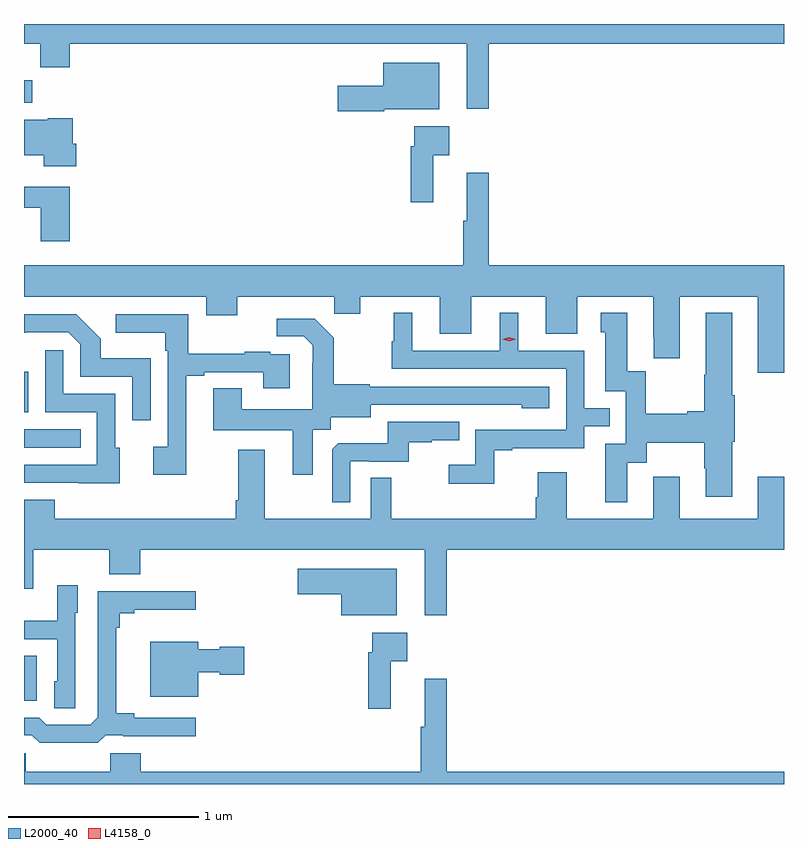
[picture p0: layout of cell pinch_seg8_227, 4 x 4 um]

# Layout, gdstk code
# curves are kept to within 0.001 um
import gdstk
lib = gdstk.Library(unit=1e-6, precision=1e-09)
def R(c, l, rs):  # rectangles x0, y0, x1, y1
    for r in rs: c.add(gdstk.rectangle(r[:2], r[2:], *l))
def P(c, l, *ps):  # polygons
    for p in ps: c.add(gdstk.Polygon(p, *l))
L2000_40 = (2000, 40)
L4158_0 = (4158, 0)

pinch_seg8_227 = lib.new_cell('pinch_seg8_227')
R(pinch_seg8_227, L2000_40, [(674.286,1109.045,674.353,1109.281), (674.286,1110.378,674.585,1110.474), (674.286,1110.563,674.308,1110.778), (674.286,1112.192,674.33,1112.311)])
P(pinch_seg8_227, L2000_40, [(676.733,1112.504),(678.286,1112.504),(678.286,1112.607),(674.286,1112.607),(674.286,1112.504),(674.371,1112.504),(674.371,1112.38),(674.528,1112.38),(674.528,1112.504),(676.616,1112.504),(676.616,1112.16),(676.733,1112.16)],
  [(676.182,1112.159),(676.471,1112.159),(676.471,1112.404),(676.178,1112.404),(676.178,1112.281),(675.936,1112.281),(675.936,1112.147),(676.182,1112.147)],
  [(674.561,1111.977),(674.543,1111.977),(674.543,1112.11),(674.412,1112.11),(674.412,1112.104),(674.286,1112.104),(674.286,1111.916),(674.39,1111.916),(674.39,1111.859),(674.561,1111.859)],
  [(676.439,1111.916),(676.525,1111.916),(676.525,1112.068),(676.341,1112.068),(676.341,1111.964),(676.321,1111.964),(676.321,1111.668),(676.439,1111.668)],
  [(674.528,1111.75),(674.286,1111.75),(674.286,1111.641),(674.375,1111.641),(674.375,1111.464),(674.528,1111.464)],
  [(676.733,1111.825),(676.616,1111.825),(676.616,1111.572),(676.597,1111.572),(676.597,1111.336),(674.286,1111.336),(674.286,1111.172),(675.245,1111.172),(675.245,1111.073),(675.409,1111.073),(675.409,1111.172),(675.919,1111.172),(675.919,1111.082),(676.057,1111.082),(676.057,1111.172),(676.475,1111.172),(676.475,1110.978),(676.639,1110.978),(676.639,1111.172),(677.033,1111.172),(677.033,1110.978),(677.197,1110.978),(677.197,1111.172),(677.597,1111.172),(677.597,1110.961),(677.6,1110.961),(677.6,1110.849),(677.737,1110.849),(677.737,1111.172),(678.149,1111.172),(678.149,1110.771),(678.286,1110.771),(678.286,1111.336),(676.733,1111.336)],
  [(676.761,1110.363),(676.855,1110.363),(676.855,1110.375),(677.235,1110.375),(677.235,1110.489),(677.369,1110.489),(677.369,1110.585),(677.235,1110.585),(677.235,1110.888),(676.888,1110.888),(676.888,1111.087),(676.79,1111.087),(676.79,1110.888),(676.33,1110.888),(676.33,1111.087),(676.232,1111.087),(676.232,1110.936),(676.221,1110.936),(676.221,1110.792),(677.139,1110.792),(677.139,1110.471),(676.662,1110.471),(676.662,1110.286),(676.521,1110.286),(676.521,1110.188),(676.761,1110.188)],
  [(677.461,1110.298),(677.563,1110.298),(677.563,1110.404),(677.866,1110.404),(677.866,1110.27),(677.873,1110.27),(677.873,1110.12),(678.013,1110.12),(678.013,1110.408),(678.026,1110.408),(678.026,1110.652),(678.013,1110.652),(678.013,1111.087),(677.873,1111.087),(677.873,1110.761),(677.866,1110.761),(677.866,1110.569),(677.777,1110.569),(677.777,1110.556),(677.559,1110.556),(677.559,1110.779),(677.461,1110.779),(677.461,1111.087),(677.321,1111.087),(677.321,1110.984),(677.345,1110.984),(677.345,1110.675),(677.454,1110.675),(677.454,1110.399),(677.345,1110.399),(677.345,1110.09),(677.461,1110.09)],
  [(674.952,1110.847),(674.691,1110.847),(674.691,1110.95),(674.56,1111.08),(674.286,1111.08),(674.286,1110.983),(674.52,1110.984),(674.583,1110.921),(674.583,1110.75),(674.856,1110.75),(674.856,1110.522),(674.952,1110.522)],
  [(675.139,1110.756),(675.235,1110.756),(675.235,1110.774),(675.545,1110.774),(675.545,1110.69),(675.685,1110.69),(675.685,1110.87),(675.581,1110.87),(675.581,1110.883),(675.449,1110.883),(675.449,1110.872),(675.151,1110.872),(675.151,1111.08),(674.769,1111.08),(674.769,1110.983),(675.03,1110.983),(675.03,1110.887),(675.042,1110.887),(675.042,1110.382),(674.967,1110.382),(674.967,1110.234),(675.139,1110.234)],
  [(675.805,1110.472),(675.9,1110.472),(675.9,1110.536),(676.111,1110.536),(676.111,1110.603),(676.905,1110.602),(676.905,1110.584),(677.05,1110.584),(677.05,1110.699),(676.107,1110.699),(676.107,1110.712),(675.915,1110.712),(675.915,1110.957),(675.815,1111.057),(675.615,1111.057),(675.615,1110.963),(675.759,1110.963),(675.806,1110.916),(675.806,1110.821),(675.804,1110.821),(675.804,1110.58),(675.433,1110.58),(675.433,1110.689),(675.281,1110.689),(675.281,1110.47),(675.701,1110.47),(675.701,1110.234),(675.805,1110.234)],
  [(674.791,1110.378),(674.766,1110.378),(674.766,1110.66),(674.493,1110.66),(674.493,1110.889),(674.397,1110.889),(674.397,1110.564),(674.67,1110.564),(674.67,1110.288),(674.286,1110.288),(674.286,1110.192),(674.573,1110.192),(674.573,1110.191),(674.791,1110.191)],
  [(676.002,1110.306),(676.102,1110.306),(676.102,1110.303),(676.31,1110.303),(676.31,1110.405),(676.433,1110.405),(676.433,1110.416),(676.577,1110.416),(676.577,1110.513),(676.2,1110.513),(676.2,1110.401),(675.941,1110.401),(675.909,1110.369),(675.909,1110.089),(676.002,1110.089)],
  [(676.511,1109.84),(678.286,1109.84),(678.286,1110.223),(678.149,1110.223),(678.149,1110.004),(677.737,1110.004),(677.737,1110.223),(677.597,1110.223),(677.597,1110.004),(677.143,1110.004),(677.143,1110.247),(676.991,1110.247),(676.991,1110.117),(676.979,1110.117),(676.979,1110.004),(676.219,1110.004),(676.219,1110.218),(676.11,1110.218),(676.11,1110.004),(675.553,1110.004),(675.553,1110.367),(675.413,1110.367),(675.413,1110.1),(675.401,1110.1),(675.401,1110.004),(674.449,1110.004),(674.449,1110.103),(674.286,1110.103),(674.286,1109.634),(674.335,1109.634),(674.335,1109.84),(674.735,1109.84),(674.735,1109.712),(674.899,1109.712),(674.899,1109.84),(676.394,1109.84),(676.394,1109.496),(676.511,1109.496)],
  [(676.249,1109.74),(675.726,1109.74),(675.726,1109.606),(675.956,1109.606),(675.956,1109.495),(676.249,1109.495)],
  [(674.556,1109.508),(674.569,1109.508),(674.569,1109.653),(674.46,1109.653),(674.46,1109.467),(674.286,1109.467),(674.286,1109.37),(674.46,1109.37),(674.46,1109.148),(674.444,1109.148),(674.444,1109.005),(674.556,1109.005)],
  [(674.715,1108.863),(674.809,1108.863),(674.809,1108.859),(675.19,1108.859),(675.19,1108.956),(674.866,1108.956),(674.866,1108.979),(674.771,1108.979),(674.771,1109.429),(674.789,1109.429),(674.789,1109.506),(674.866,1109.506),(674.866,1109.525),(675.19,1109.525),(675.19,1109.622),(674.673,1109.622),(674.673,1108.959),(674.634,1108.92),(674.403,1108.92),(674.367,1108.956),(674.286,1108.956),(674.286,1108.863),(674.328,1108.863),(674.368,1108.824),(674.675,1108.824)],
  [(676.217,1109.252),(676.303,1109.252),(676.303,1109.404),(676.119,1109.404),(676.119,1109.3),(676.099,1109.3),(676.099,1109.004),(676.217,1109.004)],
  [(675.202,1109.195),(675.315,1109.195),(675.315,1109.183),(675.445,1109.183),(675.445,1109.33),(675.315,1109.33),(675.315,1109.317),(675.202,1109.317),(675.202,1109.356),(674.951,1109.356),(674.951,1109.066),(675.202,1109.066)],
  [(678.286,1108.672),(676.511,1108.672),(676.511,1109.161),(676.394,1109.161),(676.394,1108.908),(676.375,1108.908),(676.375,1108.672),(674.9,1108.672),(674.9,1108.77),(674.74,1108.77),(674.74,1108.672),(674.295,1108.672),(674.295,1108.77),(674.286,1108.77),(674.286,1108.607),(678.286,1108.607)])
P(pinch_seg8_227, L4158_0, [(676.839,1110.938),(676.803,1110.948),(676.803,1110.948),(676.803,1110.948),(676.839,1110.958),(676.875,1110.948),(676.875,1110.948),(676.875,1110.948)])

lib.write_gds('pinch_seg8_227.gds')
